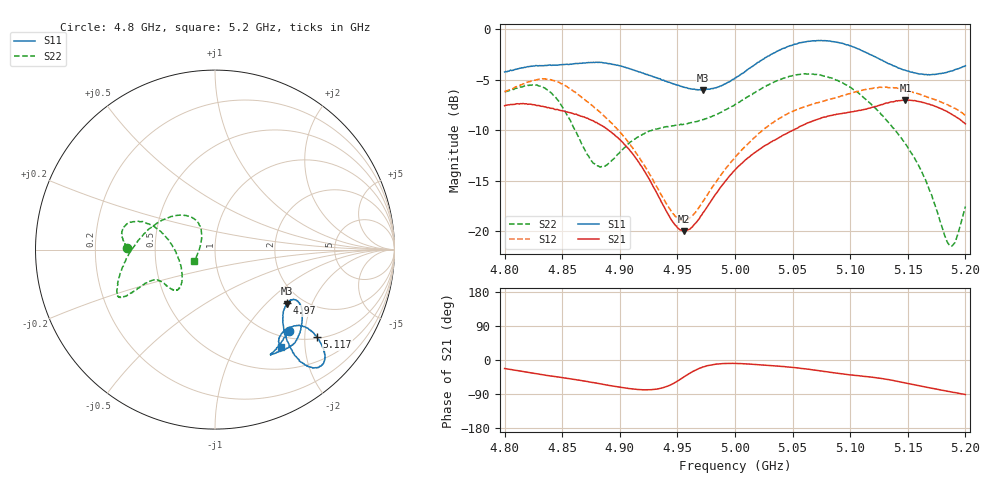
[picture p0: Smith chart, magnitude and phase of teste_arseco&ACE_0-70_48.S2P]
! Network Analyzer HP8722D
! Hewlett-Packard
! Data name: Linha & Wilkinson
! Saver's name: Rodrigo Anjos
! Comments: Teste da utilização de aquisição
! continua pelo VNA HP8722D
! Time and date: 8/5/2025 13:09
!  Frequency  S11  S21  S12  S22
# HZ  S  MA R 50
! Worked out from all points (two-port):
!   401 points, 4.8 GHz to 5.2 GHz, reference 50 ohm
!   highest |S21| = -7.03 dB at 5.148 GHz (marker M1); lowest = -20.0 dB at 4.956 GHz (marker M2)
!   |S21| within 3 dB of the highest: start of sweep to 4.89 GHz; 5.05 GHz to end of sweep
!   lowest |S11| = -6.0 dB at 4.972 GHz (marker M3), VSWR 3.00, Z = 82.9 - j66.5 ohm
!   |S11| at or under -10 dB: nowhere
!   |S22| runs from -21.5 to -4.4 dB; largest |S21 - S12| = 0.95
!   S11 on the Smith chart (normalised r, x): 4.8 GHz: 1.12, -1.64; 4.97 GHz: 1.68, -1.33; 5.117 GHz: 1.04, -2.31; 5.2 GHz: 0.82, -1.57
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4.8e9  0.6129 -48.0  0.4175 -22.5  0.4895 -176.6  0.4912 178.9
4.821e9  0.6516 -59.0  0.4253 -33.2  0.5489 175.8  0.5258 170.4
4.836e9  0.6602 -61.8  0.4117 -40.4  0.5644 167.2  0.5048 163.3
4.85e9  0.6669 -60.3  0.3946 -46.4  0.536 158.3  0.4128 159.0
4.867e9  0.677 -55.1  0.3703 -54.5  0.4587 150.0  0.2696 167.6
4.885e9  0.6823 -48.9  0.3314 -63.9  0.3768 143.5  0.2089 -159.1
4.909e9  0.635 -40.5  0.2497 -75.7  0.2682 137.3  0.2759 -133.6
4.934e9  0.5685 -33.0  0.1473 -75.8  0.1589 141.5  0.3222 -136.1
4.956e9  0.5148 -32.8  0.1004 -44.1  0.1133 174.0  0.3392 -144.9
4.97e9  0.5002 -36.4  0.1184 -21.0  0.1343 -162.9  0.3522 -150.2
4.972e9  0.4994 -37.1  0.123 -18.4  0.14 -160.5  0.3564 -151.0
5e9  0.572 -48.1  0.2014 -9.1  0.2321 -147.4  0.4234 -154.1
5.038e9  0.7832 -52.7  0.2898 -16.4  0.3602 -148.4  0.5607 -152.3
5.067e9  0.8735 -48.6  0.3501 -25.7  0.425 -155.2  0.5988 -155.7
5.095e9  0.843 -43.6  0.3839 -37.5  0.4714 -163.1  0.5346 -167.4
5.117e9  0.7488 -40.5  0.4062 -44.8  0.5066 -173.3  0.4316 173.3
5.134e9  0.6727 -40.4  0.4339 -52.1  0.5129 176.4  0.3421 152.2
5.148e9  0.6247 -42.7  0.4453 -60.5  0.4985 168.5  0.2701 134.6
5.164e9  0.5956 -47.9  0.4324 -70.5  0.4667 160.9  0.1862 122.4
5.186e9  0.6156 -54.7  0.3853 -83.2  0.4173 153.2  0.08559 157.8
5.191e9  0.6304 -55.5  0.371 -85.8  0.4052 151.7  0.08806 -179.0
5.2e9  0.6582 -55.8  0.3399 -91.1  0.3747 148.7  0.1326 -150.8
